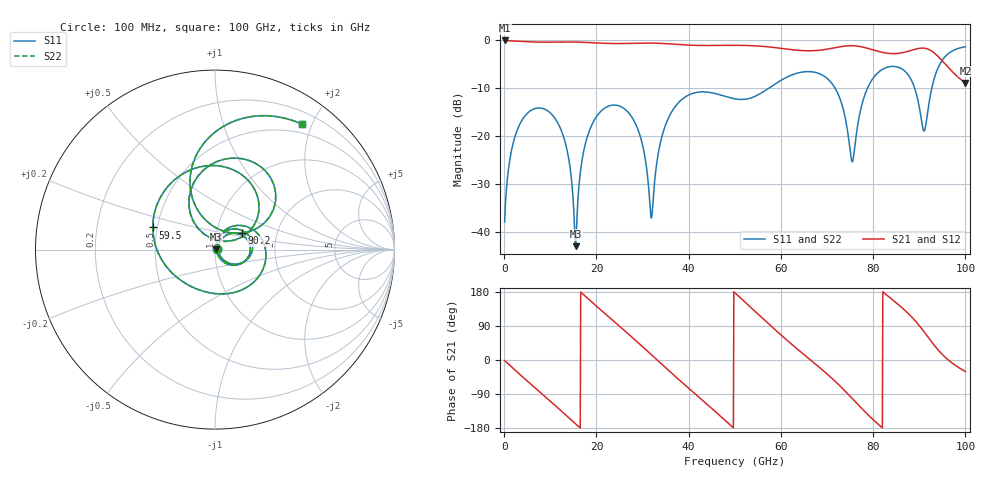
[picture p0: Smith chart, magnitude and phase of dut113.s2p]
! Touchstone file exported from HFSS 2026.1.0
!  File:  C:/ffzhzh/LocalFiles/Ansys_Project_Files/temp_train_TSV_RDL_113_1783635662_33328.aedt
!  Generated:  06:28:40 AM Jul 10, 2026
!  Design:  TSV_RDL
!  Project:  temp_train_TSV_RDL_113_1783635662_33328
! Variables:
!  h_bsmrdl = 4.61um
!  h_ox = 20um
!  h_rdl = 5um
!  h_sub = 66.73um
!  h_tmrdl = 3.03um
!  h_tsv = 66.73um
!  h_via = 3um
!  l_bsmrdl = 665um
!  l_sub = 3678.86um
!  l_tmrdl = 277.63um
!  m_sub = 200um
!  pitch = 41.55um
!  r_tsv = 14.68um
!  s_tmrdl = 10um
!  w_bsmrdl = 28.5um
!  w_sub = 500um
!  w_tmrdl = 29.28um
!  x_tsv_center1 = 292.27um
!  x_tsv_center2 = 985.77um
!  x_tsv_center3 = 1292.68um
!  x_tsv_center4 = 1986.18um
!  x_tsv_center5 = 2293.09um
!  x_tsv_center6 = 2986.59um
# GHz S MA R 50.000000
! Terminal data exported
! Port[1] = TM_RDL1_1_T1
! Port[2] = TM_RDL5_1_T1
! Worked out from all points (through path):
!   1000 points, 100 MHz to 100 GHz, reference 50 ohm
!   highest |S21| = -0.10 dB at 100 MHz (marker M1); lowest = -8.9 dB at 100 GHz (marker M2)
!   group delay of S21, straight-line fit = 30.7 ps
!   lowest |S11| = -42.9 dB at 15.5 GHz (marker M3), VSWR 1.01, Z = 50.7 + j0.17 ohm
!   |S11| at or under -10 dB: start of sweep to 57.42 GHz; 71.74 GHz to 78.78 GHz (7.043 GHz wide, 9.36 % of centre); 89 GHz to 92.72 GHz (3.722 GHz wide, 4.1 % of centre)
!   |S22| runs from -42.5 to -1.4 dB; largest |S21 - S12| = 1.7e-14
!   S11 on the Smith chart (normalised r, x): 100 MHz: 1.02, +0.01; 59.5 GHz: 0.47, +0.14; 90.2 GHz: 1.33, +0.25; 100 GHz: 0.37, +1.85
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0.1  0.01284 27.2  0.9887 -1.2  0.9887 -1.2  0.01284 27.2
! Gamma 0 0 0 0
! Port Impedance 50 0 50 0
2.7  0.1112 49.3  0.9733 -30.3  0.9733 -30.3  0.1112 49.3
8  0.1958 -3.1  0.9493 -87.3  0.9493 -87.3  0.1958 -3.1
13  0.09447 -52.7  0.954 -141.1  0.954 -141.1  0.09442 -52.5
15.5  0.007191 13.5  0.9524 -168.7  0.9524 -168.7  0.007541 13.8
16.8  0.0529 74.8  0.9482 177.0  0.9482 177.0  0.05304 74.4
25.1  0.205 -4.3  0.9185 88.2  0.9185 88.2  0.205 -4.4
29.4  0.1035 -45.0  0.9284 41.8  0.9284 41.8  0.1035 -45.0
31.9  0.01406 6.7  0.9293 14.0  0.9293 14.0  0.01434 6.5
33.4  0.06584 71.9  0.9248 -2.7  0.9248 -2.7  0.06587 71.5
41.6  0.2844 -3.8  0.8788 -91.4  0.8788 -91.4  0.2843 -3.9
50.1  0.244 -92.5  0.8803 176.6  0.8803 176.6  0.2441 -92.2
55.2  0.2713 -150.9  0.8647 119.4  0.8647 119.4  0.2714 -150.4
59.5  0.3677 160.3  0.8248 71.7  0.8248 71.7  0.3678 160.7
66.7  0.467 87.6  0.7731 -2.7  0.7731 -2.7  0.467 87.7
72.1  0.2939 36.8  0.8377 -60.1  0.8377 -60.1  0.2938 36.6
74.9  0.07821 37.1  0.8716 -94.5  0.8716 -94.5  0.07705 36.2
78.9  0.3254 116.0  0.8166 -144.9  0.8166 -144.9  0.3251 116.4
83.4  0.5257 75.2  0.7255 166.9  0.7255 166.9  0.5257 75.4
90.2  0.1776 31.2  0.8216 87.8  0.8216 87.8  0.1778 31.4
93.8  0.4775 105.6  0.6944 30.7  0.6944 30.7  0.4779 105.6
100  0.8501 55.3  0.3577 -30.4  0.3577 -30.4  0.8503 55.3
